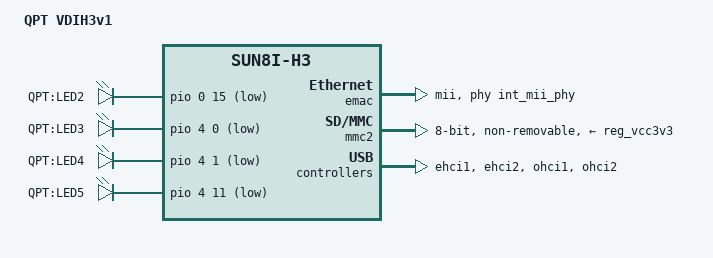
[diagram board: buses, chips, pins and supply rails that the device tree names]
/*
 * Copyright (C) 2016 Milo Kim <woogyom.kim@gmail.com>
 *
 * This file is dual-licensed: you can use it either under the terms
 * of the GPL or the X11 license, at your option. Note that this dual
 * licensing only applies to this file, and not this project as a
 * whole.
 *
 *  a) This file is free software; you can redistribute it and/or
 *     modify it under the terms of the GNU General Public License as
 *     published by the Free Software Foundation; either version 2 of the
 *     License, or (at your option) any later version.
 *
 *     This file is distributed in the hope that it will be useful,
 *     but WITHOUT ANY WARRANTY; without even the implied warranty of
 *     MERCHANTABILITY or FITNESS FOR A PARTICULAR PURPOSE.  See the
 *     GNU General Public License for more details.
 *
 * Or, alternatively,
 *
 *  b) Permission is hereby granted, free of charge, to any person
 *     obtaining a copy of this software and associated documentation
 *     files (the "Software"), to deal in the Software without
 *     restriction, including without limitation the rights to use,
 *     copy, modify, merge, publish, distribute, sublicense, and/or
 *     sell copies of the Software, and to permit persons to whom the
 *     Software is furnished to do so, subject to the following
 *     conditions:
 *
 *     The above copyright notice and this permission notice shall be
 *     included in all copies or substantial portions of the Software.
 *
 *     THE SOFTWARE IS PROVIDED "AS IS", WITHOUT WARRANTY OF ANY KIND,
 *     EXPRESS OR IMPLIED, INCLUDING BUT NOT LIMITED TO THE WARRANTIES
 *     OF MERCHANTABILITY, FITNESS FOR A PARTICULAR PURPOSE AND
 *     NONINFRINGEMENT. IN NO EVENT SHALL THE AUTHORS OR COPYRIGHT
 *     HOLDERS BE LIABLE FOR ANY CLAIM, DAMAGES OR OTHER LIABILITY,
 *     WHETHER IN AN ACTION OF CONTRACT, TORT OR OTHERWISE, ARISING
 *     FROM, OUT OF OR IN CONNECTION WITH THE SOFTWARE OR THE USE OR
 *     OTHER DEALINGS IN THE SOFTWARE.
 */

#include "sun8i-h3-nanopi.dtsi"

/ {
	model = "QPT VDIH3v1";
	compatible = "QPT,VDIH3v1", "allwinner,sun8i-h3";

        leds {
		compatible = "gpio-leds";

		led2 {
			label = "QPT:LED2"; /* PA15 */
			gpios = <&pio 0 15 GPIO_ACTIVE_LOW>;
			default-state = "on";
		};

		led3 {
			label = "QPT:LED3"; /* PE0 */
			gpios = <&pio 4 0 GPIO_ACTIVE_LOW>;
		};

		led4 {
			label = "QPT:LED4"; /* PE1 */
			gpios = <&pio 4 1 GPIO_ACTIVE_LOW>;
		};

		led5 {
			label = "QPT:LED5"; /* PE11 */
			gpios = <&pio 4 11 GPIO_ACTIVE_LOW>;
		};
	};
};

&emac {
	phy-handle = <&int_mii_phy>;
	phy-mode = "mii";
	allwinner,leds-active-low;
	status = "okay";
};

&mmc2 {
        pinctrl-names = "default";
        pinctrl-0 = <&mmc2_8bit_pins>;
        vmmc-supply = <&reg_vcc3v3>;
        bus-width = <8>;
        non-removable;
        status = "okay";
        cap-mmc-hw-reset;
};

&mmc2_8bit_pins {
        /* Increase drive strength for DDR modes */
        allwinner,drive = <SUN4I_PINCTRL_40_MA>;
        /* eMMC is missing pull-ups */
        allwinner,pull = <SUN4I_PINCTRL_PULL_UP>;
};

&ehci1 {
	status = "okay";
};

&ehci2 {
	status = "okay";
};

&ohci1 {
	status = "okay";
};

&ohci2 {
	status = "okay";
};
